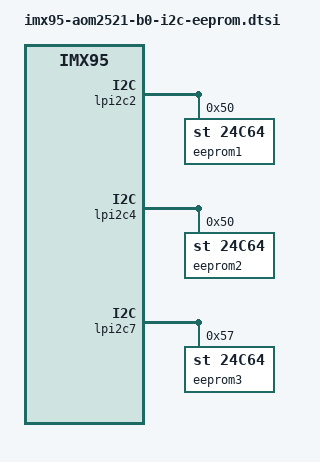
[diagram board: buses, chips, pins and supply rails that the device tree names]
&lpi2c2 {
	eeprom1: 24c64@50 {
		compatible = "st,24c64";
		reg = <0x50>;
	};
};

&lpi2c4 {
	eeprom2: 24c64@50 {
		compatible = "st,24c64";
		reg = <0x50>;
	};
};

&lpi2c7 {
	eeprom3: 24c64@57 {
		compatible = "st,24c64";
		reg = <0x57>;
	};
};
